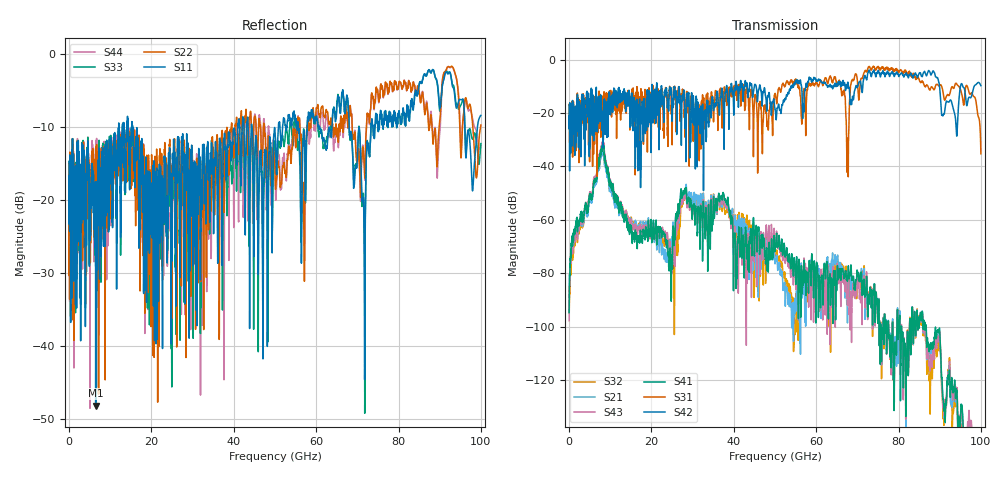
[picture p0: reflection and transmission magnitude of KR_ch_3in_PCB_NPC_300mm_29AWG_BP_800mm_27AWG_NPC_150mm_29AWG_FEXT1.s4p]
# GHz S RI R 45
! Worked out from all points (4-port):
!   4000 points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, 25 MHz to 100 GHz, reference 45 ohm
!   strongest paths, dB at 25 MHz, 25.02 GHz, 50.02 GHz, 75.03 GHz, 100 GHz:
!     S42: -21.2, -20.7, -18.6, -4.1, -9.8
!     S31: -21.2, -31.9, -12.7, -2.5, -35.2
!     S41: -94.8, -75.7, -70.4, -95.7, -140.9
!     S43: -97.8, -75.6, -68.1, -95.6, -139.5
!     S21: -88.9, -66.8, -76.5, -95.5, -145.9
!     S32: -94.8, -69.0, -73.8, -95.5, -144.8
!   lowest |S11| = -48.1 dB at 6.475 GHz (marker M1), VSWR 1.01, Z = 45 - j0.353 ohm
!   |S11| at or under -10 dB: start of sweep to 12.07 GHz; 15.43 GHz to 40.98 GHz (25.55 GHz wide, 90.6 % of centre); 44.42 GHz to 50.82 GHz (6.398 GHz wide, 13.4 % of centre) (the widest 3 of 37)
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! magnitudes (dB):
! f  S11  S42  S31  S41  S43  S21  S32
! 25 MHz  -16.7  -21.2  -21.2  -94.8  -97.8  -88.9  -94.8
! 6.475 GHz  -48.1  -14.2  -24.1  -45.5  -44.5  -46.7  -45.3
! 24.6 GHz  -18.2  -12.8  -12.2  -72.3  -70.5  -67.6  -67.9
! 63.42 GHz  -11.0  -9.3  -6.1  -83.4  -96.8  -77.5  -85.9
! 67.6 GHz  -6.0  -8.9  -31.9  -83.1  -92.2  -98.6  -85.3
! 76.22 GHz  -10.0  -4.1  -2.7  -103.1  -102.9  -102.2  -102.7
! 100 GHz  -8.4  -9.8  -35.2  -140.9  -139.5  -145.9  -144.8
